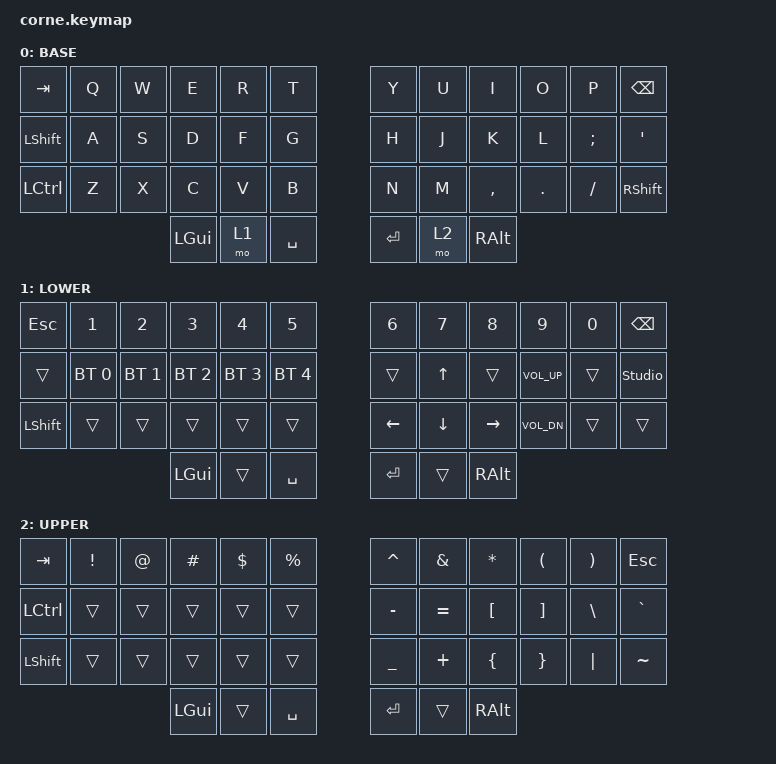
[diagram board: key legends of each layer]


/*
 * Copyright (c) 2020 The ZMK Contributors
 *
 * SPDX-License-Identifier: MIT
 */

#include <behaviors.dtsi>
#include <dt-bindings/zmk/keys.h>
#include <dt-bindings/zmk/bt.h>

/ {
    keymap {
        compatible = "zmk,keymap";

        default_layer {
            display-name = "BASE";
// -----------------------------------------------------------------------------------------
// | TAB  |  Q  |  W  |  E  |  R  |  T  |   |  Y  |  U   |  I  |  O  |  P  | BKSP |
// | SHFT |  A  |  S  |  D  |  F  |  G  |   |  H  |  J   |  K  |  L  |  ;  |  '   |
// | CTRL |  Z  |  X  |  C  |  V  |  B  |   |  N  |  M   |  ,  |  .  |  /  | SHFT |
//                    | GUI | LWR | SPC |   | ENT | RSE  | ALT |
                        bindings = <
   &kp TAB   &kp Q &kp W &kp E &kp R &kp T   &kp Y &kp U  &kp I     &kp O   &kp P    &kp BSPC
   &kp LSHFT &kp A &kp S &kp D &kp F &kp G   &kp H &kp J  &kp K     &kp L   &kp SEMI &kp SQT
   &kp LCTRL &kp Z &kp X &kp C &kp V &kp B   &kp N &kp M  &kp COMMA &kp DOT &kp FSLH &kp RSHFT
                  &kp LGUI &mo 1 &kp SPACE   &kp RET &mo 2 &kp RALT
            >;
        };

        lower_layer {
            display-name = "LOWER";
// -----------------------------------------------------------------------------------------
// |  ESC |  1  |  2  |  3  |  4  |  5  |   |  6  |  7  |  8  |  9  |  0  | BKSP  |
// | BTCLR| BT1 | BT2 | BT3 | BT4 | BT5 |   |     | UP  |     |     |     |Studio|
// | SHFT |     |     |     |     |     |   | LFT | DWN | RGT |     |     |      |
//                    | GUI |     | SPC |   | ENT |     | ALT |
            bindings = <
&kp ESC    &kp N1       &kp N2       &kp N3       &kp N4       &kp N5         &kp N6   &kp N7   &kp N8 &kp N9    &kp N0 &kp BSPC
&trans     &bt BT_SEL 0 &bt BT_SEL 1 &bt BT_SEL 2 &bt BT_SEL 3 &bt BT_SEL 4   &trans   &kp UP   &trans    &kp C_VOL_UP  &trans &studio_unlock
&kp LSHFT  &trans       &trans       &trans       &trans       &trans         &kp LEFT &kp DOWN &kp RIGHT &kp C_VOL_DN &trans &trans
                                     &kp LGUI     &trans       &kp SPACE      &kp RET  &trans   &kp RALT
            >;
        };

        raise_layer {
            display-name = "UPPER";
// -----------------------------------------------------------------------------------------
// |  TAB |  !  |  @  |  #  |  $  |  %  |   |  ^  |  &  |  *  |  (  |  )  | ESC  |
// | CTRL |     |     |     |     |     |   |  -  |  =  |  [  |  ]  |  \  |  `   |
// | SHFT |     |     |     |     |     |   |  _  |  +  |  {  |  }  | "|" |  ~   |
//                    | GUI |     | SPC |   | ENT |     | ALT |
            bindings = <
&kp  TAB  &kp EXCL &kp AT &kp HASH &kp DLLR &kp PRCNT   &kp CARET &kp AMPS  &kp ASTRK &kp LPAR &kp RPAR &kp ESC
&kp LCTRL &trans   &trans &trans   &trans   &trans      &kp MINUS &kp EQUAL &kp LBKT  &kp RBKT &kp BSLH &kp GRAVE
&kp LSHFT &trans   &trans &trans   &trans   &trans      &kp UNDER &kp PLUS  &kp LBRC  &kp RBRC &kp PIPE &kp TILDE
                          &kp LGUI &trans   &kp SPACE   &kp RET   &trans    &kp RALT
            >;
                };

                extra_1 {
                        status = "reserved";
                };

                extra_2 {
                        status = "reserved";
                };

                extra_3 {
                        status = "reserved";
                };
        };
};
